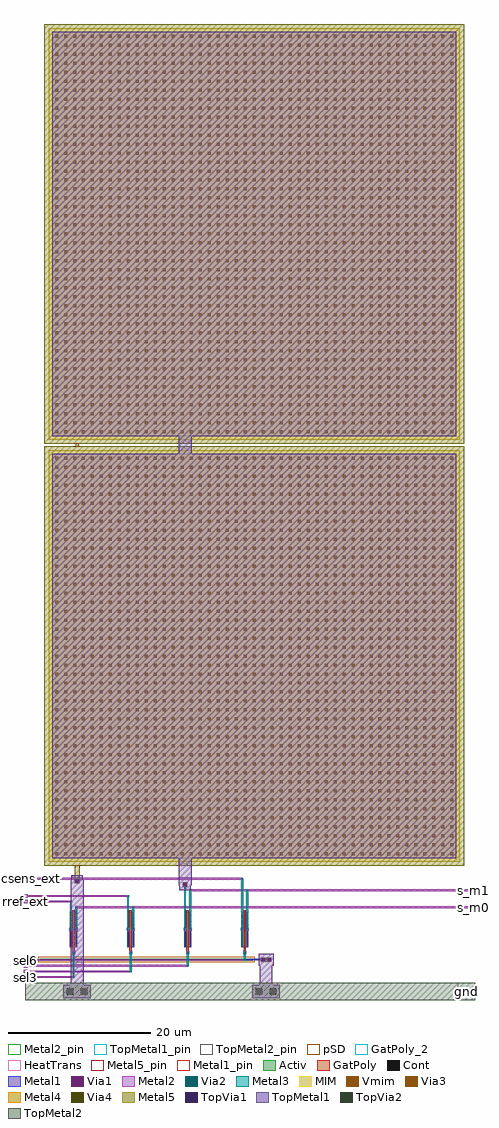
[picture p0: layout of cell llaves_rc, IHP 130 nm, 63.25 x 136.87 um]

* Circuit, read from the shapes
.subckt llaves_rc csens_ext gnd rref_ext rsens_ext s_m0 s_m1 sel3 sel4 sel5 sel6
XM1 s_m0 sel3 rref_ext gnd sg13_lv_nmos w=5u l=0.34u
XM2 s_m0 sel4 rsens_ext gnd sg13_lv_nmos w=5u l=0.34u
XM3 s_m1 sel5 n1 gnd sg13_lv_nmos w=5u l=0.34u
XM4 s_m1 sel6 csens_ext gnd sg13_lv_nmos w=5u l=0.34u
XC5 n1 gnd cap_cmim w=57.67u l=57.67u m=2
.ends

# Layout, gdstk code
import gdstk
lib = gdstk.Library(unit=1e-6, precision=1e-09)
def R(c, l, rs):  # rectangles x0, y0, x1, y1
    for r in rs: c.add(gdstk.rectangle(r[:2], r[2:], *l))
def A(c, l, x, y, w, h, nx, ny, dx, dy):  # array of equal rectangles
    R(c, l, [(x+i*dx, y+j*dy, x+i*dx+w, y+j*dy+h) for i in range(nx) for j in range(ny)])
def P(c, l, *ps):  # polygons
    for p in ps: c.add(gdstk.Polygon(p, *l))
Activ = (1, 0)
GatPoly = (5, 0)
GatPoly_2 = (5, 2)
Cont = (6, 0)
Metal1 = (8, 0)
Metal1_pin = (8, 2)
Metal2 = (10, 0)
Metal2_pin = (10, 2)
pSD = (14, 0)
Via1 = (19, 0)
Via2 = (29, 0)
Metal3 = (30, 0)
MIM = (36, 0)
Via3 = (49, 0)
Metal4 = (50, 0)
HeatTrans = (51, 0)
Via4 = (66, 0)
Metal5 = (67, 0)
Metal5_pin = (67, 2)
TopVia1 = (125, 0)
TopMetal1 = (126, 0)
TopMetal1_pin = (126, 2)
Vmim = (129, 0)
TopVia2 = (133, 0)
TopMetal2 = (134, 0)
TopMetal2_pin = (134, 2)

nmos = lib.new_cell('nmos')
R(nmos, Activ, [(0,0,0.3,0.3), (0,0,1.02,5), (0.72,0,1.02,0.3)])
R(nmos, GatPoly, [(0.34,-0.18,0.68,5.18)])
R(nmos, GatPoly_2, [(0.34,-0.18,0.68,5.18), (0.34,-0.18,0.68,5.18)])
A(nmos, Cont, 0.07, 0.07, 0.16, 0.16, 1, 4, 0, 0.36)
A(nmos, Cont, 0.79, 0.07, 0.16, 0.16, 1, 4, 0, 0.36)
A(nmos, Cont, 0.07, 1.515, 0.16, 0.16, 1, 3, 0, 0.36)
A(nmos, Cont, 0.79, 1.515, 0.16, 0.16, 1, 3, 0, 0.36)
A(nmos, Cont, 0.07, 2.6, 0.16, 0.16, 1, 3, 0, 0.36)
A(nmos, Cont, 0.79, 2.6, 0.16, 0.16, 1, 3, 0, 0.36)
A(nmos, Cont, 0.07, 3.685, 0.16, 0.16, 1, 3, 0, 0.36)
A(nmos, Cont, 0.79, 3.685, 0.16, 0.16, 1, 3, 0, 0.36)
R(nmos, Cont, [(0.07,4.77,0.23,4.93), (0.79,4.77,0.95,4.93)])
R(nmos, Metal1, [(0.07,0,0.23,5), (0.79,0,0.95,5)])
R(nmos, Metal1_pin, [(0.07,0,0.23,5), (0.07,0,0.23,5), (0.79,0,0.95,5), (0.79,0,0.95,5)])
R(nmos, HeatTrans, [(0.34,-0.18,0.68,5.18)])
nmos.add(gdstk.Label('nmos', (0.51,2.5), layer=63, texttype=0))
nmos.add(gdstk.Label('nmos', (0.51,2.5), layer=51, texttype=0))

via_stack = lib.new_cell('via_stack')
R(via_stack, GatPoly, [(-0.15,-0.15,0.15,0.15)])
R(via_stack, Cont, [(-0.08,-0.08,0.08,0.08)])
R(via_stack, Metal1, [(-0.145,-0.105,0.145,0.105)])
R(via_stack, Metal2, [(-0.145,-0.1,0.145,0.1)])
R(via_stack, Via1, [(-0.095,-0.095,0.095,0.095)])
R(via_stack, Via2, [(-0.095,-0.095,0.095,0.095)])
R(via_stack, Metal3, [(-0.145,-0.1,0.145,0.1)])

via_stack_1 = lib.new_cell('via_stack$1')
R(via_stack_1, Metal2, [(-0.145,-0.1,0.145,0.1)])
R(via_stack_1, Via2, [(-0.095,-0.095,0.095,0.095)])
R(via_stack_1, Metal3, [(-0.145,-0.1,0.145,0.1)])

via_stack_2 = lib.new_cell('via_stack$2')
R(via_stack_2, Metal1, [(-0.145,-0.105,0.145,0.105)])
R(via_stack_2, Metal2, [(-0.145,-0.1,0.145,0.1)])
R(via_stack_2, Via1, [(-0.095,-0.095,0.095,0.095)])
R(via_stack_2, Via2, [(-0.095,-0.095,0.095,0.095)])
R(via_stack_2, Metal3, [(-0.145,-0.1,0.145,0.1)])

via_stack_3 = lib.new_cell('via_stack$3')
R(via_stack_3, Metal3, [(-0.145,-0.1,0.145,0.1)])
R(via_stack_3, Via3, [(-0.095,-0.095,0.095,0.095)])
R(via_stack_3, Metal4, [(-0.145,-0.1,0.145,0.1)])
R(via_stack_3, Via4, [(-0.095,-0.095,0.095,0.095)])
R(via_stack_3, Metal5, [(-0.31,-0.31,0.31,0.31)])
R(via_stack_3, TopVia1, [(-0.21,-0.21,0.21,0.21)])
R(via_stack_3, TopMetal1, [(-0.82,-0.82,0.82,0.82)])

cmim = lib.new_cell('cmim')
R(cmim, MIM, [(0,0,57.67,57.67)])
R(cmim, Metal5, [(-0.6,-0.6,58.27,58.27)])
R(cmim, Metal5_pin, [(-0.6,-0.6,58.27,58.27)])
R(cmim, TopMetal1, [(0.485,0.485,57.185,57.185)])
R(cmim, TopMetal1_pin, [(0.485,0.485,57.185,57.185)])
A(cmim, Vmim, 0.905, 0.905, 0.42, 0.42, 45, 45, 1.26, 1.26)
cmim.add(gdstk.Label('c=5p', (28.835,28.835), layer=63, texttype=0))
cmim.add(gdstk.Label('cmim', (28.835,28.835), layer=63, texttype=0))

via_stack_4 = lib.new_cell('via_stack$4')
R(via_stack_4, Metal5, [(-0.31,-0.31,0.31,0.31)])
R(via_stack_4, TopVia1, [(-0.21,-0.21,0.21,0.21)])
R(via_stack_4, TopMetal1, [(-0.82,-0.82,0.82,0.82)])

via_stack_5 = lib.new_cell('via_stack$5')
R(via_stack_5, Activ, [(-14.94,-0.15,14.94,0.15)])
A(via_stack_5, Cont, -14.87, -0.08, 0.16, 0.16, 88, 1, 0.34, 0)
R(via_stack_5, Metal1, [(-14.92,-0.08,14.92,0.08)])

via_stack_6 = lib.new_cell('via_stack$6')
R(via_stack_6, Metal1, [(-0.555,-0.105,0.555,0.105)])
R(via_stack_6, Metal2, [(-0.555,-0.1,0.555,0.1)])
A(via_stack_6, Via1, -0.505, -0.095, 0.19, 0.19, 3, 1, 0.41, 0)
A(via_stack_6, Via2, -0.505, -0.095, 0.19, 0.19, 3, 1, 0.41, 0)
R(via_stack_6, Metal3, [(-0.555,-0.1,0.555,0.1)])
A(via_stack_6, Via3, -0.505, -0.095, 0.19, 0.19, 3, 1, 0.41, 0)
R(via_stack_6, Metal4, [(-0.555,-0.1,0.555,0.1)])
A(via_stack_6, Via4, -0.505, -0.095, 0.19, 0.19, 3, 1, 0.41, 0)
R(via_stack_6, Metal5, [(-0.73,-0.31,0.73,0.31)])
R(via_stack_6, TopVia1, [(-0.63,-0.21,-0.21,0.21), (0.21,-0.21,0.63,0.21)])
R(via_stack_6, TopMetal1, [(-1.05,-0.82,1.05,0.82)])

via_stack_7 = lib.new_cell('via_stack$7')
R(via_stack_7, TopMetal1, [(-1.93,-0.95,1.93,0.95)])
R(via_stack_7, TopVia2, [(-1.43,-0.45,-0.53,0.45), (0.53,-0.45,1.43,0.45)])
R(via_stack_7, TopMetal2, [(-1.93,-1,1.93,1)])

llaves_rc = lib.new_cell('llaves_rc')
A(llaves_rc, GatPoly, 7.34, 4.05, 0.34, 0.85, 4, 1, 8, 0)
A(llaves_rc, Metal1, 7.3, 4.09, 0.42, 0.42, 4, 1, 8, 0)
R(llaves_rc, Metal1, [(32.2,3.15,34.6,3.35), (6.93,7.28,7.37,7.72), (7.65,7.28,8.09,7.72), (14.93,7.28,15.37,7.72), (15.65,7.28,16.09,7.72), (22.93,7.28,23.37,7.72), (23.65,7.28,24.09,7.72), (30.93,7.28,31.37,7.72), (31.65,7.28,32.09,7.72)])
A(llaves_rc, Metal2, 7.3, 4.09, 0.42, 0.42, 4, 1, 8, 0)
R(llaves_rc, Metal2, [(6.95,7.3,7.35,7.7), (7.67,7.3,8.07,7.7), (14.95,7.3,15.35,7.7), (15.67,7.3,16.07,7.7), (22.95,7.3,23.35,7.7), (23.67,7.3,24.07,7.7), (30.95,7.3,31.35,7.7), (31.67,7.3,32.07,7.7)])
P(llaves_rc, Metal2, [(0.55,0.55),(0.55,1.05),(1.05,1.05),(1.05,0.91),(7.61,0.91),(7.61,0.69),(1.05,0.69),(1.05,0.55)],
  [(0.55,1.35),(0.55,1.85),(1.05,1.85),(1.05,1.71),(15.61,1.71),(15.61,1.49),(1.05,1.49),(1.05,1.35)],
  [(0.55,2.15),(0.55,2.65),(1.05,2.65),(1.05,2.51),(23.61,2.51),(23.61,2.29),(1.05,2.29),(1.05,2.15)],
  [(0.55,2.95),(0.55,3.45),(1.05,3.45),(1.05,3.31),(31.61,3.31),(31.61,3.09),(1.05,3.09),(1.05,2.95)],
  [(63.3,10.35),(63.3,10.48),(7.77,10.48),(7.77,10.72),(63.3,10.72),(63.3,10.85),(63.8,10.85),(63.8,10.35)],
  [(0.55,11.15),(0.55,11.65),(1.05,11.65),(1.05,11.51),(7.25,11.51),(7.25,11.29),(1.05,11.29),(1.05,11.15)],
  [(0.55,11.95),(0.55,12.45),(1.05,12.45),(1.05,12.31),(15.25,12.31),(15.25,12.09),(1.05,12.09),(1.05,11.95)],
  [(63.3,12.75),(63.3,12.88),(23.77,12.88),(23.77,13.12),(63.3,13.12),(63.3,13.25),(63.8,13.25),(63.8,12.75)],
  [(0.55,14.35),(0.55,14.85),(1.05,14.85),(1.05,14.71),(31.25,14.71),(31.25,14.49),(1.05,14.49),(1.05,14.35)])
A(llaves_rc, Metal2_pin, 0.55, 0.55, 0.5, 0.5, 1, 4, 0, 0.8)
R(llaves_rc, Metal2_pin, [(63.3,10.35,63.8,10.85), (0.55,11.15,1.05,11.65), (0.55,11.95,1.05,12.45), (63.3,12.75,63.8,13.25), (0.55,14.35,1.05,14.85)])
R(llaves_rc, pSD, [(2.52,2.86,32.88,3.64)])
R(llaves_rc, Metal3, [(7.39,0.7,7.63,4.4), (15.39,1.5,15.63,4.4), (23.39,2.3,23.63,4.4), (31.39,3.1,31.63,4.4), (7.03,7.4,7.27,11.5), (7.75,7.4,7.99,10.7), (15.03,7.4,15.27,12.3), (15.75,7.4,15.99,10.7), (23.75,7.4,23.99,13.1), (31.03,7.4,31.27,14.7), (31.75,7.4,31.99,13.1)])
P(llaves_rc, Metal3, [(23.03,7.4),(23.03,13.58),(22.93,13.58),(22.93,14.02),(23.37,14.02),(23.37,13.58),(23.27,13.58),(23.27,7.4)])
R(llaves_rc, Metal4, [(22.93,13.58,23.37,14.02)])
R(llaves_rc, Metal5, [(7.65,14.2,8.35,16.9), (7.8,73.8,8.2,76)])
R(llaves_rc, TopMetal1, [(7.1,-1.3,8.9,14.4), (33.6,-1.3,35.4,3.35), (22.25,13.7,24.05,77.5)])
R(llaves_rc, TopMetal2, [(0.7,-2.4,63.8,0)])
R(llaves_rc, TopMetal2_pin, [(61.4,-2.4,63.8,0)])
llaves_rc.add(gdstk.Reference(nmos, (7,5)))
llaves_rc.add(gdstk.Reference(via_stack, (7.51,4.3)))
llaves_rc.add(gdstk.Reference(via_stack_1, (7.51,0.8)))
llaves_rc.add(gdstk.Reference(via_stack_2, (7.15,7.5)))
llaves_rc.add(gdstk.Reference(via_stack_2, (7.87,7.5)))
llaves_rc.add(gdstk.Reference(via_stack_1, (7.15,11.4)))
llaves_rc.add(gdstk.Reference(via_stack_1, (7.87,10.6)))
llaves_rc.add(gdstk.Reference(nmos, (15,5)))
llaves_rc.add(gdstk.Reference(via_stack, (15.51,4.3)))
llaves_rc.add(gdstk.Reference(via_stack_1, (15.51,1.6)))
llaves_rc.add(gdstk.Reference(via_stack_2, (15.15,7.5)))
llaves_rc.add(gdstk.Reference(via_stack_2, (15.87,7.5)))
llaves_rc.add(gdstk.Reference(via_stack_1, (15.15,12.2)))
llaves_rc.add(gdstk.Reference(via_stack_1, (15.87,10.6)))
llaves_rc.add(gdstk.Reference(nmos, (23,5)))
llaves_rc.add(gdstk.Reference(via_stack, (23.51,4.3)))
llaves_rc.add(gdstk.Reference(via_stack_1, (23.51,2.4)))
llaves_rc.add(gdstk.Reference(via_stack_2, (23.15,7.5)))
llaves_rc.add(gdstk.Reference(via_stack_2, (23.87,7.5)))
llaves_rc.add(gdstk.Reference(via_stack_3, (23.15,13.8)))
llaves_rc.add(gdstk.Reference(via_stack_1, (23.87,13)))
llaves_rc.add(gdstk.Reference(nmos, (31,5)))
llaves_rc.add(gdstk.Reference(via_stack, (31.51,4.3)))
llaves_rc.add(gdstk.Reference(via_stack_1, (31.51,3.2)))
llaves_rc.add(gdstk.Reference(via_stack_2, (31.15,7.5)))
llaves_rc.add(gdstk.Reference(via_stack_2, (31.87,7.5)))
llaves_rc.add(gdstk.Reference(via_stack_1, (31.15,14.6)))
llaves_rc.add(gdstk.Reference(via_stack_1, (31.87,13)))
llaves_rc.add(gdstk.Reference(cmim, (4,17)))
llaves_rc.add(gdstk.Reference(cmim, (4,76.2)))
llaves_rc.add(gdstk.Reference(via_stack_4, (8,14.3)))
llaves_rc.add(gdstk.Reference(via_stack_5, (17.7,3.25)))
llaves_rc.add(gdstk.Reference(via_stack_6, (34.5,3.25)))
llaves_rc.add(gdstk.Reference(via_stack_7, (34.5,-1.2)))
llaves_rc.add(gdstk.Reference(via_stack_7, (8,-1.2)))
llaves_rc.add(gdstk.Label('sel3', (0.8,0.8), layer=10, texttype=25))
llaves_rc.add(gdstk.Label('rref_ext', (0.8,11.4), layer=10, texttype=25))
llaves_rc.add(gdstk.Label('sel4', (0.8,1.6), layer=10, texttype=25))
llaves_rc.add(gdstk.Label('rsens_ext', (0.8,12.2), layer=10, texttype=25))
llaves_rc.add(gdstk.Label('sel5', (0.8,2.4), layer=10, texttype=25))
llaves_rc.add(gdstk.Label('sel6', (0.8,3.2), layer=10, texttype=25))
llaves_rc.add(gdstk.Label('csens_ext', (0.8,14.6), layer=10, texttype=25))
llaves_rc.add(gdstk.Label('s_m0', (63.55,10.6), layer=10, texttype=25))
llaves_rc.add(gdstk.Label('s_m1', (63.55,13), layer=10, texttype=25))
llaves_rc.add(gdstk.Label('gnd', (62.6,-1.2), layer=134, texttype=25))

lib.write_gds('llaves_rc.gds')
